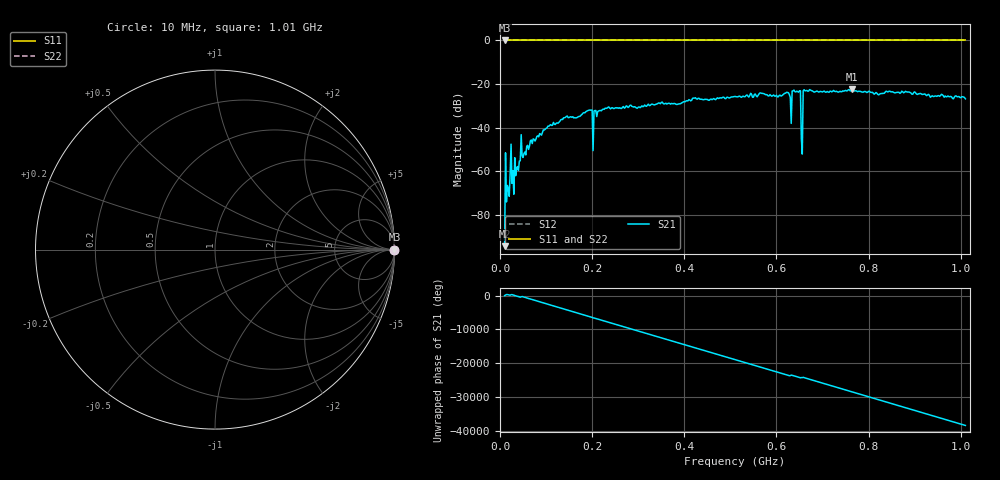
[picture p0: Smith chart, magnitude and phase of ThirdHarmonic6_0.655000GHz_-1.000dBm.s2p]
! 8/15/2025 9:45:22 PM
! C:\ANRITSUVNA\TEMP\TEMP.S2P
! CHANNEL.1
! TR.MEASUREMENT
! RAW.DATA
! RF.CORRECTION.OFF
! AVERAGING.OFF
! IF.BANDWIDTH: 5KHZ
! SWEEPTYPE:  FREQ.SWEEP(Linear)
! Reference Plane Port Info
! PORT:  PORT1  PORT2
! DISTANCE:  0  m  0  m
! TIME:  0  s  0  s
! PHASE.OFFSET:  0  deg.  0  deg.
! LOSS:  0  dB  0  dB
! REF.LOSS:  0  dB  0  dB
! REF.FREQ:  0  Hz  0  Hz
! Power Info
! POWER:  -20  dBm  -20  dBm
! EFF.POWER:  -20  dBm  -20  dBm
! SOURCE.ATTEN:  0  dB  0  dB
! TEST.ATTEN:  0  dB  0  dB
# GHZ S RI R 50.0
! FREQ.GHZ  S11RE  S11IM  S21RE  S21IM  S12RE  S12IM  S22RE  S22IM
!; PortSelection: Port_12
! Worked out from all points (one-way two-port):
!   501 points, 10 MHz to 1.01 GHz, reference 50 ohm
!   highest |S21| = -22.39 dB at 764 MHz (marker M1); lowest = -94.5 dB at 10 MHz (marker M2)
!   lowest |S11| = 0.0 dB at 10 MHz (marker M3)
!   |S11| at or under -10 dB: nowhere
!   |S22| runs from 0.0 to 0.0 dB; largest |S21 - S12| = 1.1
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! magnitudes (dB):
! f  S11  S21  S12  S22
! 10 MHz  0.0  -94.5  0.0  0.0
! 18 MHz  0.0  -68.1  0.0  0.0
! 20 MHz  0.0  -71.6  0.0  0.0
! 30 MHz  0.0  -70.6  0.0  0.0
! 50 MHz  0.0  -53.7  0.0  0.0
! 106 MHz  0.0  -39.4  0.0  0.0
! 178 MHz  0.0  -33.9  0.0  0.0
! 196 MHz  0.0  -32.0  0.0  0.0
! 206 MHz  0.0  -32.2  0.0  0.0
! 232 MHz  0.0  -31.1  0.0  0.0
! 344 MHz  0.0  -28.7  0.0  0.0
! 510 MHz  0.0  -25.7  0.0  0.0
! 622 MHz  0.0  -23.8  0.0  0.0
! 628 MHz  0.0  -24.9  0.0  0.0
! 648 MHz  0.0  -23.7  0.0  0.0
! 652 MHz  0.0  -23.1  0.0  0.0
! 658 MHz  0.0  -23.1  0.0  0.0
! 662 MHz  0.0  -23.1  0.0  0.0
! 678 MHz  0.0  -23.2  0.0  0.0
! 764 MHz  0.0  -22.4  0.0  0.0
! 844 MHz  0.0  -23.3  0.0  0.0
! 1.01 GHz  0.0  -26.8  0.0  0.0
